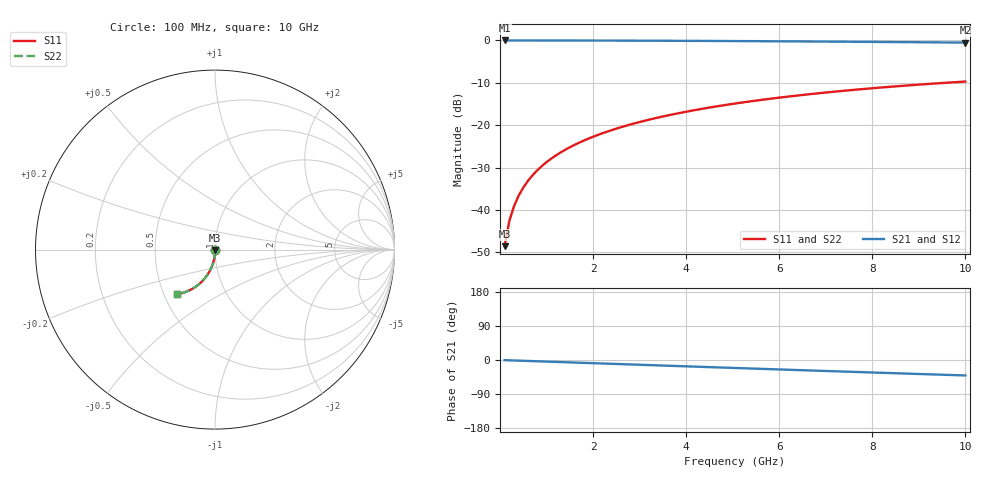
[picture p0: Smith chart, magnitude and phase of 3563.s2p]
# Hz S RI R 50.00
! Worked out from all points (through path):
!   100 points, 100 MHz to 10 GHz, reference 50 ohm
!   highest |S21| = -0.01 dB at 100 MHz (marker M1); lowest = -0.5 dB at 10 GHz (marker M2)
!   group delay of S21, straight-line fit = 11.4 ps
!   lowest |S11| = -48.5 dB at 100 MHz (marker M3), VSWR 1.01, Z = 50.1 - j0.368 ohm
!   |S11| at or under -10 dB: start of sweep to 9.565 GHz
!   |S22| runs from -48.5 to -9.7 dB; largest |S21 - S12| = 0
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1e8  0.00074 -0.00367  0.9992 -0.00732  0.9992 -0.00732  0.00074 -0.00367
2e8  0.00066 -0.00735  0.9991 -0.0146  0.9991 -0.0146  0.00066 -0.00735
3e8  0.000524 -0.011  0.9989 -0.0219  0.9989 -0.0219  0.000524 -0.011
4e8  0.000334 -0.0147  0.9987 -0.0293  0.9987 -0.0293  0.000334 -0.0147
5e8  8.92e-05 -0.0184  0.9983 -0.0366  0.9983 -0.0366  8.92e-05 -0.0184
6e8  -0.000209 -0.022  0.998 -0.0439  0.998 -0.0439  -0.000209 -0.022
7e8  -0.000561 -0.0257  0.9975 -0.0512  0.9975 -0.0512  -0.000561 -0.0257
8e8  -0.000967 -0.0293  0.997 -0.0585  0.997 -0.0585  -0.000967 -0.0293
9e8  -0.00143 -0.033  0.9964 -0.0658  0.9964 -0.0658  -0.00143 -0.033
1.1e9  -0.0025 -0.0402  0.9951 -0.0803  0.9951 -0.0803  -0.0025 -0.0402
1.4e9  -0.00452 -0.0511  0.9926 -0.1021  0.9926 -0.1021  -0.00452 -0.0511
1.8e9  -0.00794 -0.0654  0.9883 -0.131  0.9883 -0.131  -0.00794 -0.0654
2.1e9  -0.011 -0.0759  0.9844 -0.1525  0.9844 -0.1525  -0.011 -0.0759
2.5e9  -0.0159 -0.0897  0.9783 -0.1809  0.9783 -0.1809  -0.0159 -0.0897
2.9e9  -0.0215 -0.1033  0.9712 -0.209  0.9712 -0.209  -0.0215 -0.1033
3.4e9  -0.0297 -0.1196  0.9609 -0.2437  0.9609 -0.2437  -0.0297 -0.1196
4.2e9  -0.045 -0.1443  0.9415 -0.2977  0.9415 -0.2977  -0.045 -0.1443
5.1e9  -0.0654 -0.1697  0.9153 -0.3561  0.9153 -0.3561  -0.0654 -0.1697
5.9e9  -0.0859 -0.1897  0.8887 -0.4055  0.8887 -0.4055  -0.0859 -0.1897
6.7e9  -0.1084 -0.207  0.8592 -0.4524  0.8592 -0.4524  -0.1084 -0.207
8.4e9  -0.1609 -0.2346  0.7885 -0.5428  0.7885 -0.5428  -0.1609 -0.2346
1e10  -0.2135 -0.2483  0.7144 -0.6161  0.7144 -0.6161  -0.2135 -0.2483
